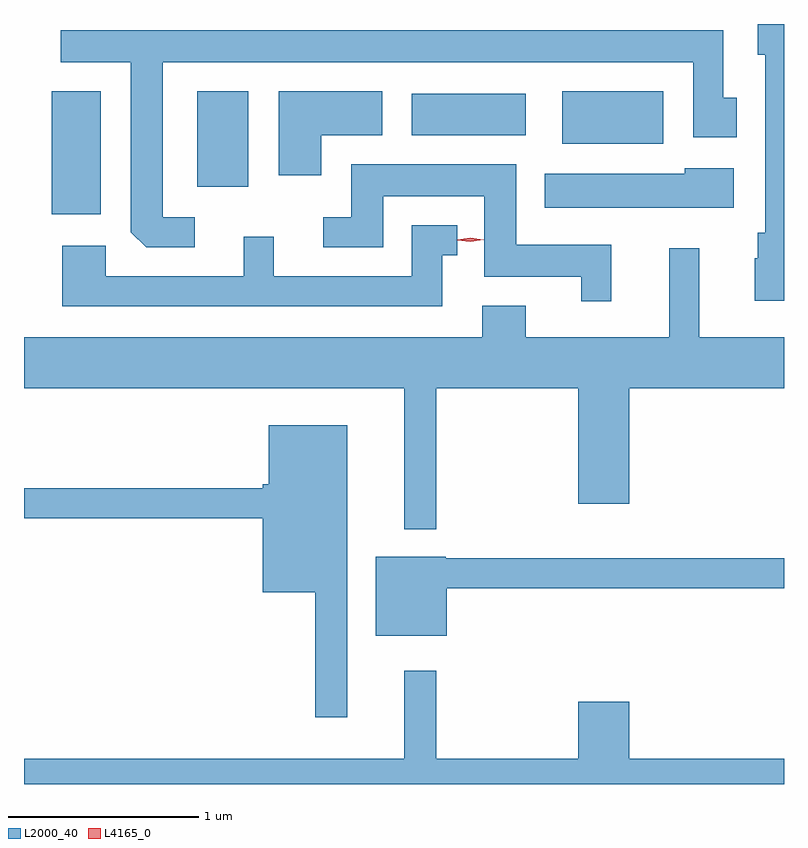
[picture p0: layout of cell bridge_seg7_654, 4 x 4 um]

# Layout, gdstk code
import gdstk
lib = gdstk.Library(unit=1e-6, precision=1e-09)
def R(c, l, rs):  # rectangles x0, y0, x1, y1
    for r in rs: c.add(gdstk.rectangle(r[:2], r[2:], *l))
def P(c, l, *ps):  # polygons
    for p in ps: c.add(gdstk.Polygon(p, *l))
L2000_40 = (2000, 40)
L4165_0 = (4165, 0)

bridge_seg7_654 = lib.new_cell('bridge_seg7_654')
R(bridge_seg7_654, L2000_40, [(971.546,1701.911,971.804,1702.559), (972.311,1702.056,972.579,1702.559), (974.231,1702.281,974.764,1702.559), (973.441,1702.326,974.039,1702.544)])
P(bridge_seg7_654, L2000_40, [(975.399,1702.912),(975.261,1702.912),(975.261,1702.751),(975.301,1702.751),(975.301,1701.814),(975.261,1701.814),(975.261,1701.68),(975.246,1701.68),(975.246,1701.456),(975.399,1701.456)],
  [(972.298,1701.894),(972.129,1701.894),(972.129,1702.711),(974.921,1702.711),(974.921,1702.316),(975.149,1702.316),(975.149,1702.524),(975.079,1702.524),(975.079,1702.879),(971.593,1702.879),(971.593,1702.711),(971.961,1702.711),(971.961,1701.817),(972.042,1701.736),(972.298,1701.736)],
  [(972.964,1702.326),(973.284,1702.326),(973.284,1702.559),(972.741,1702.559),(972.741,1702.116),(972.964,1702.116)],
  [(974.489,1701.749),(973.989,1701.749),(973.989,1702.174),(973.121,1702.174),(973.121,1701.894),(972.973,1701.894),(972.973,1701.736),(973.289,1701.736),(973.289,1702.006),(973.821,1702.006),(973.821,1701.581),(974.331,1701.581),(974.331,1701.453),(974.489,1701.453)],
  [(975.134,1702.154),(974.876,1702.154),(974.876,1702.124),(974.141,1702.124),(974.141,1701.946),(975.134,1701.946)],
  [(973.599,1701.696),(973.678,1701.696),(973.678,1701.854),(973.441,1701.854),(973.441,1701.584),(972.714,1701.584),(972.714,1701.793),(972.556,1701.793),(972.556,1701.584),(971.829,1701.584),(971.829,1701.744),(971.601,1701.744),(971.601,1701.426),(973.599,1701.426)],
  [(973.569,1700.996),(974.316,1700.996),(974.316,1700.386),(974.584,1700.386),(974.584,1700.996),(975.399,1700.996),(975.399,1701.264),(974.954,1701.264),(974.954,1701.733),(974.796,1701.733),(974.796,1701.264),(974.039,1701.264),(974.039,1701.429),(973.811,1701.429),(973.811,1701.264),(971.399,1701.264),(971.399,1700.996),(973.401,1700.996),(973.401,1700.253),(973.569,1700.253)],
  [(973.099,1700.799),(972.686,1700.799),(972.686,1700.489),(972.656,1700.489),(972.656,1700.469),(971.399,1700.469),(971.399,1700.311),(972.656,1700.311),(972.656,1699.921),(972.931,1699.921),(972.931,1699.263),(973.099,1699.263)],
  [(973.624,1699.941),(975.399,1699.941),(975.399,1700.099),(973.62,1700.099),(973.62,1700.109),(973.251,1700.109),(973.251,1699.691),(973.624,1699.691)],
  [(975.399,1699.044),(974.584,1699.044),(974.584,1699.344),(974.316,1699.344),(974.316,1699.044),(973.569,1699.044),(973.569,1699.508),(973.401,1699.508),(973.401,1699.044),(971.399,1699.044),(971.399,1698.912),(975.399,1698.912)])
P(bridge_seg7_654, L4165_0, [(973.748,1701.766),(973.679,1701.775),(973.679,1701.776),(973.679,1701.776),(973.748,1701.786),(973.818,1701.777),(973.818,1701.777),(973.818,1701.776)])

lib.write_gds('bridge_seg7_654.gds')
